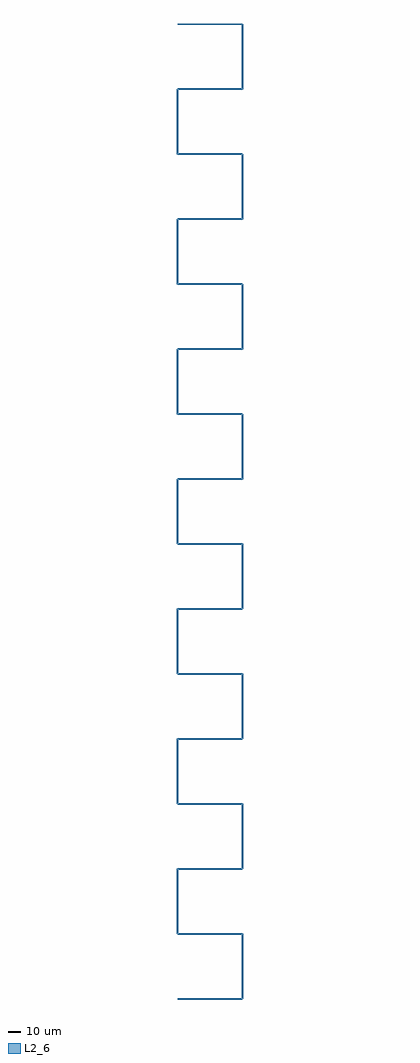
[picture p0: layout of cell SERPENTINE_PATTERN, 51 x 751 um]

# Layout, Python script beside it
import gdspy

# Create a new GDSII library
lib = gdspy.GdsLibrary()

# Create a GDSII cell
cell = lib.new_cell('SERPENTINE_PATTERN')

# Starting point coordinates
x0, y0 = 0, 0

# Define path parameters
path_width = 1.0            # Path width of 1 µm
turns = 15                  # Number of turns
segment_length = 50.0       # Each segment is 50 µm long and tall

# Initialize the path at the starting point
path = gdspy.Path(path_width, (x0, y0))

# Start by moving right by one segment length
path.segment(segment_length, '+x', layer=2, datatype=6)

# Generate the serpentine pattern
for i in range(turns):
    # Move up by one segment length
    path.segment(segment_length, '+y', layer=2, datatype=6)
    if i % 2 == 0:
        # On even turns, move left
        path.segment(segment_length, '-x', layer=2, datatype=6)
    else:
        # On odd turns, move right
        path.segment(segment_length, '+x', layer=2, datatype=6)

# Add the path to the cell
cell.add(path)

# Save the library to a GDSII file
lib.write_gds('serpentine_pattern.gds')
